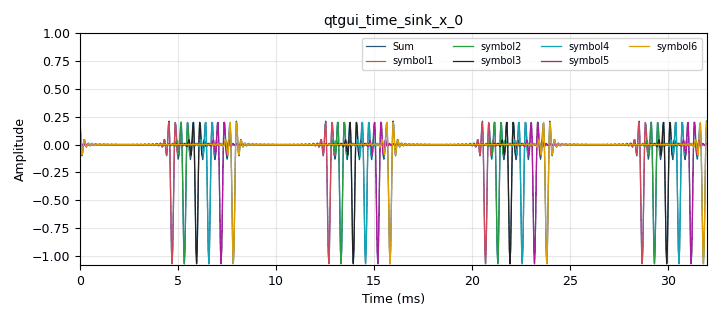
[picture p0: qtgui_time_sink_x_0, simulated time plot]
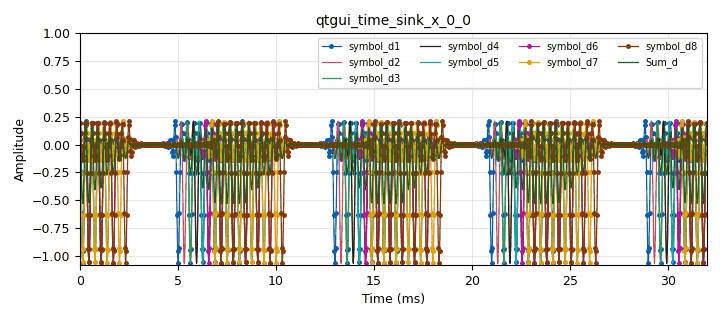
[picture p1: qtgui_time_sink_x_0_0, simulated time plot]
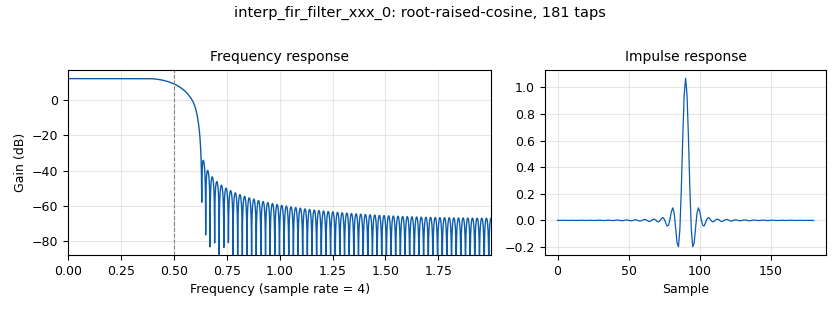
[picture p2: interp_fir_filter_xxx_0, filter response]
<?xml version='1.0' encoding='utf-8'?>
<?grc format='1' created='3.7.14'?>
<flow_graph>
<block>
<key>options</key>
<param><key>id</key><value>top_block</value></param>
<param><key>generate_options</key><value>qt_gui</value></param>
</block>
<block>
<key>variable_qtgui_range</key>
<param><key>id</key><value>delay_spread</value></param>
<param><key>value</key><value>10</value></param>
<param><key>orient</key><value>Qt.Horizontal</value></param>
<param><key>start</key><value>0</value></param>
<param><key>step</key><value>1</value></param>
<param><key>stop</key><value>50</value></param>
<param><key>rangeType</key><value>int</value></param>
</block>
<block>
<key>variable</key>
<param><key>id</key><value>samp_rate</value></param>
<param><key>value</key><value>32000</value></param>
</block>
<block>
<key>variable_qtgui_range</key>
<param><key>id</key><value>symbol_guard</value></param>
<param><key>value</key><value>20</value></param>
<param><key>orient</key><value>Qt.Horizontal</value></param>
<param><key>start</key><value>0</value></param>
<param><key>step</key><value>1</value></param>
<param><key>stop</key><value>200</value></param>
<param><key>rangeType</key><value>int</value></param>
</block>
<block>
<key>blocks_add_xx</key>
<param><key>id</key><value>blocks_add_xx_0</value></param>
<param><key>type</key><value>float</value></param>
<param><key>num_inputs</key><value>6</value></param>
</block>
<block>
<key>blocks_add_xx</key>
<param><key>id</key><value>blocks_add_xx_0_0</value></param>
<param><key>type</key><value>float</value></param>
<param><key>num_inputs</key><value>8</value></param>
</block>
<block>
<key>blocks_delay</key>
<param><key>id</key><value>blocks_delay_0</value></param>
<param><key>delay</key><value>2*symbol_guard</value></param>
<param><key>type</key><value>float</value></param>
</block>
<block>
<key>blocks_delay</key>
<param><key>id</key><value>blocks_delay_0_0</value></param>
<param><key>delay</key><value>1*symbol_guard</value></param>
<param><key>type</key><value>float</value></param>
</block>
<block>
<key>blocks_delay</key>
<param><key>id</key><value>blocks_delay_0_0_0</value></param>
<param><key>delay</key><value>5*symbol_guard</value></param>
<param><key>type</key><value>float</value></param>
</block>
<block>
<key>blocks_delay</key>
<param><key>id</key><value>blocks_delay_0_0_0_2</value></param>
<param><key>delay</key><value>1*delay_spread</value></param>
<param><key>type</key><value>float</value></param>
</block>
<block>
<key>blocks_delay</key>
<param><key>id</key><value>blocks_delay_0_0_0_2_0</value></param>
<param><key>delay</key><value>3*delay_spread</value></param>
<param><key>type</key><value>float</value></param>
</block>
<block>
<key>blocks_delay</key>
<param><key>id</key><value>blocks_delay_0_0_0_2_0_0</value></param>
<param><key>delay</key><value>6*delay_spread</value></param>
<param><key>type</key><value>float</value></param>
</block>
<block>
<key>blocks_delay</key>
<param><key>id</key><value>blocks_delay_0_0_0_2_0_1</value></param>
<param><key>delay</key><value>5*delay_spread</value></param>
<param><key>type</key><value>float</value></param>
</block>
<block>
<key>blocks_delay</key>
<param><key>id</key><value>blocks_delay_0_0_0_2_0_2</value></param>
<param><key>delay</key><value>7*delay_spread</value></param>
<param><key>type</key><value>float</value></param>
</block>
<block>
<key>blocks_delay</key>
<param><key>id</key><value>blocks_delay_0_0_0_2_0_3</value></param>
<param><key>delay</key><value>4*delay_spread</value></param>
<param><key>type</key><value>float</value></param>
</block>
<block>
<key>blocks_delay</key>
<param><key>id</key><value>blocks_delay_0_0_0_2_0_4</value></param>
<param><key>delay</key><value>8*delay_spread</value></param>
<param><key>type</key><value>float</value></param>
</block>
<block>
<key>blocks_delay</key>
<param><key>id</key><value>blocks_delay_0_0_0_2_1</value></param>
<param><key>delay</key><value>2*delay_spread</value></param>
<param><key>type</key><value>float</value></param>
</block>
<block>
<key>blocks_delay</key>
<param><key>id</key><value>blocks_delay_0_1</value></param>
<param><key>delay</key><value>4*symbol_guard</value></param>
<param><key>type</key><value>float</value></param>
</block>
<block>
<key>blocks_delay</key>
<param><key>id</key><value>blocks_delay_0_2</value></param>
<param><key>delay</key><value>3*symbol_guard</value></param>
<param><key>type</key><value>float</value></param>
</block>
<block>
<key>blocks_multiply_const_vxx</key>
<param><key>id</key><value>blocks_multiply_const_vxx_0</value></param>
<param><key>const</key><value>-1</value></param>
<param><key>type</key><value>float</value></param>
</block>
<block>
<key>blocks_multiply_const_vxx</key>
<param><key>id</key><value>blocks_multiply_const_vxx_0_0</value></param>
<param><key>const</key><value>-1</value></param>
<param><key>type</key><value>float</value></param>
</block>
<block>
<key>blocks_multiply_const_vxx</key>
<param><key>id</key><value>blocks_multiply_const_vxx_0_2_1</value></param>
<param><key>const</key><value>-1</value></param>
<param><key>type</key><value>float</value></param>
</block>
<block>
<key>blocks_multiply_const_vxx</key>
<param><key>id</key><value>blocks_multiply_const_vxx_0_2_1_0</value></param>
<param><key>const</key><value>-1</value></param>
<param><key>type</key><value>float</value></param>
</block>
<block>
<key>blocks_multiply_const_vxx</key>
<param><key>id</key><value>blocks_multiply_const_vxx_0_3</value></param>
<param><key>const</key><value>-1</value></param>
<param><key>type</key><value>float</value></param>
</block>
<block>
<key>blocks_multiply_const_vxx</key>
<param><key>id</key><value>blocks_multiply_const_vxx_0_3_0</value></param>
<param><key>const</key><value>-1</value></param>
<param><key>type</key><value>float</value></param>
</block>
<block>
<key>blocks_multiply_const_vxx</key>
<param><key>id</key><value>blocks_multiply_const_vxx_1</value></param>
<param><key>const</key><value>0.111</value></param>
<param><key>type</key><value>float</value></param>
</block>
<block>
<key>blocks_vector_source_x</key>
<param><key>id</key><value>blocks_vector_source_x_0</value></param>
<param><key>type</key><value>float</value></param>
<param><key>repeat</key><value>True</value></param>
<param><key>vector</key><value>31*[0,]+[1,]+32*[0,]</value></param>
</block>
<block>
<key>interp_fir_filter_xxx</key>
<param><key>id</key><value>interp_fir_filter_xxx_0</value></param>
<param><key>interp</key><value>4</value></param>
<param><key>taps</key><value>firdes.root_raised_cosine(4,4,1,0.25,4*45)</value></param>
<param><key>type</key><value>fff</value></param>
</block>
<block>
<key>qtgui_time_sink_x</key>
<param><key>id</key><value>qtgui_time_sink_x_0</value></param>
<param><key>color1</key><value>"blue"</value></param>
<param><key>label1</key><value>Sum</value></param>
<param><key>color2</key><value>"red"</value></param>
<param><key>label2</key><value>symbol1</value></param>
<param><key>color3</key><value>"magenta"</value></param>
<param><key>label3</key><value>symbol2</value></param>
<param><key>color4</key><value>"black"</value></param>
<param><key>label4</key><value>symbol3</value></param>
<param><key>color5</key><value>"cyan"</value></param>
<param><key>label5</key><value>symbol4</value></param>
<param><key>color6</key><value>"magenta"</value></param>
<param><key>label6</key><value>symbol5</value></param>
<param><key>color7</key><value>"yellow"</value></param>
<param><key>label7</key><value>symbol6</value></param>
<param><key>nconnections</key><value>7</value></param>
<param><key>size</key><value>1024</value></param>
<param><key>srate</key><value>samp_rate</value></param>
<param><key>type</key><value>float</value></param>
</block>
<block>
<key>qtgui_time_sink_x</key>
<param><key>id</key><value>qtgui_time_sink_x_0_0</value></param>
<param><key>color1</key><value>"blue"</value></param>
<param><key>label1</key><value>symbol_d1</value></param>
<param><key>marker1</key><value>0</value></param>
<param><key>color2</key><value>"red"</value></param>
<param><key>label2</key><value>symbol_d2</value></param>
<param><key>style2</key><value>2</value></param>
<param><key>color3</key><value>"green"</value></param>
<param><key>label3</key><value>symbol_d3</value></param>
<param><key>color4</key><value>"dark red"</value></param>
<param><key>label4</key><value>symbol_d4</value></param>
<param><key>style4</key><value>4</value></param>
<param><key>color5</key><value>"cyan"</value></param>
<param><key>label5</key><value>symbol_d5</value></param>
<param><key>color6</key><value>"magenta"</value></param>
<param><key>label6</key><value>symbol_d6</value></param>
<param><key>marker6</key><value>0</value></param>
<param><key>color7</key><value>"Dark Blue"</value></param>
<param><key>label7</key><value>symbol_d7</value></param>
<param><key>marker7</key><value>0</value></param>
<param><key>color8</key><value>"dark red"</value></param>
<param><key>label8</key><value>symbol_d8</value></param>
<param><key>marker8</key><value>3</value></param>
<param><key>style8</key><value>2</value></param>
<param><key>color9</key><value>"dark green"</value></param>
<param><key>label9</key><value>Sum_d</value></param>
<param><key>nconnections</key><value>9</value></param>
<param><key>size</key><value>1024</value></param>
<param><key>srate</key><value>samp_rate</value></param>
<param><key>type</key><value>float</value></param>
</block>
<block>
<key>virtual_sink</key>
<param><key>id</key><value>virtual_sink_0</value></param>
<param><key>stream_id</key><value>Symbol Source </value></param>
</block>
<block>
<key>virtual_source</key>
<param><key>id</key><value>virtual_source_0</value></param>
<param><key>stream_id</key><value>Symbol Source </value></param>
</block>
<connection><source_block_id>blocks_add_xx_0</source_block_id><sink_block_id>qtgui_time_sink_x_0</sink_block_id><source_key>0</source_key><sink_key>0</sink_key></connection>
<connection><source_block_id>blocks_add_xx_0</source_block_id><sink_block_id>virtual_sink_0</sink_block_id><source_key>0</source_key><sink_key>0</sink_key></connection>
<connection><source_block_id>blocks_add_xx_0_0</source_block_id><sink_block_id>blocks_multiply_const_vxx_1</sink_block_id><source_key>0</source_key><sink_key>0</sink_key></connection>
<connection><source_block_id>blocks_delay_0</source_block_id><sink_block_id>blocks_add_xx_0</sink_block_id><source_key>0</source_key><sink_key>2</sink_key></connection>
<connection><source_block_id>blocks_delay_0</source_block_id><sink_block_id>qtgui_time_sink_x_0</sink_block_id><source_key>0</source_key><sink_key>3</sink_key></connection>
<connection><source_block_id>blocks_delay_0_0</source_block_id><sink_block_id>blocks_add_xx_0</sink_block_id><source_key>0</source_key><sink_key>1</sink_key></connection>
<connection><source_block_id>blocks_delay_0_0</source_block_id><sink_block_id>qtgui_time_sink_x_0</sink_block_id><source_key>0</source_key><sink_key>2</sink_key></connection>
<connection><source_block_id>blocks_delay_0_0_0</source_block_id><sink_block_id>blocks_add_xx_0</sink_block_id><source_key>0</source_key><sink_key>5</sink_key></connection>
<connection><source_block_id>blocks_delay_0_0_0</source_block_id><sink_block_id>qtgui_time_sink_x_0</sink_block_id><source_key>0</source_key><sink_key>6</sink_key></connection>
<connection><source_block_id>blocks_delay_0_0_0_2</source_block_id><sink_block_id>blocks_add_xx_0_0</sink_block_id><source_key>0</source_key><sink_key>3</sink_key></connection>
<connection><source_block_id>blocks_delay_0_0_0_2</source_block_id><sink_block_id>qtgui_time_sink_x_0_0</sink_block_id><source_key>0</source_key><sink_key>0</sink_key></connection>
<connection><source_block_id>blocks_delay_0_0_0_2_0</source_block_id><sink_block_id>blocks_add_xx_0_0</sink_block_id><source_key>0</source_key><sink_key>1</sink_key></connection>
<connection><source_block_id>blocks_delay_0_0_0_2_0</source_block_id><sink_block_id>qtgui_time_sink_x_0_0</sink_block_id><source_key>0</source_key><sink_key>2</sink_key></connection>
<connection><source_block_id>blocks_delay_0_0_0_2_0_0</source_block_id><sink_block_id>blocks_add_xx_0_0</sink_block_id><source_key>0</source_key><sink_key>5</sink_key></connection>
<connection><source_block_id>blocks_delay_0_0_0_2_0_0</source_block_id><sink_block_id>qtgui_time_sink_x_0_0</sink_block_id><source_key>0</source_key><sink_key>5</sink_key></connection>
<connection><source_block_id>blocks_delay_0_0_0_2_0_1</source_block_id><sink_block_id>blocks_add_xx_0_0</sink_block_id><source_key>0</source_key><sink_key>4</sink_key></connection>
<connection><source_block_id>blocks_delay_0_0_0_2_0_1</source_block_id><sink_block_id>qtgui_time_sink_x_0_0</sink_block_id><source_key>0</source_key><sink_key>4</sink_key></connection>
<connection><source_block_id>blocks_delay_0_0_0_2_0_2</source_block_id><sink_block_id>blocks_add_xx_0_0</sink_block_id><source_key>0</source_key><sink_key>6</sink_key></connection>
<connection><source_block_id>blocks_delay_0_0_0_2_0_2</source_block_id><sink_block_id>qtgui_time_sink_x_0_0</sink_block_id><source_key>0</source_key><sink_key>6</sink_key></connection>
<connection><source_block_id>blocks_delay_0_0_0_2_0_3</source_block_id><sink_block_id>blocks_add_xx_0_0</sink_block_id><source_key>0</source_key><sink_key>0</sink_key></connection>
<connection><source_block_id>blocks_delay_0_0_0_2_0_3</source_block_id><sink_block_id>qtgui_time_sink_x_0_0</sink_block_id><source_key>0</source_key><sink_key>3</sink_key></connection>
<connection><source_block_id>blocks_delay_0_0_0_2_0_4</source_block_id><sink_block_id>blocks_add_xx_0_0</sink_block_id><source_key>0</source_key><sink_key>7</sink_key></connection>
<connection><source_block_id>blocks_delay_0_0_0_2_0_4</source_block_id><sink_block_id>qtgui_time_sink_x_0_0</sink_block_id><source_key>0</source_key><sink_key>7</sink_key></connection>
<connection><source_block_id>blocks_delay_0_0_0_2_1</source_block_id><sink_block_id>blocks_add_xx_0_0</sink_block_id><source_key>0</source_key><sink_key>2</sink_key></connection>
<connection><source_block_id>blocks_delay_0_0_0_2_1</source_block_id><sink_block_id>qtgui_time_sink_x_0_0</sink_block_id><source_key>0</source_key><sink_key>1</sink_key></connection>
<connection><source_block_id>blocks_delay_0_1</source_block_id><sink_block_id>blocks_add_xx_0</sink_block_id><source_key>0</source_key><sink_key>4</sink_key></connection>
<connection><source_block_id>blocks_delay_0_1</source_block_id><sink_block_id>qtgui_time_sink_x_0</sink_block_id><source_key>0</source_key><sink_key>5</sink_key></connection>
<connection><source_block_id>blocks_delay_0_2</source_block_id><sink_block_id>blocks_add_xx_0</sink_block_id><source_key>0</source_key><sink_key>3</sink_key></connection>
<connection><source_block_id>blocks_delay_0_2</source_block_id><sink_block_id>qtgui_time_sink_x_0</sink_block_id><source_key>0</source_key><sink_key>4</sink_key></connection>
<connection><source_block_id>blocks_multiply_const_vxx_0</source_block_id><sink_block_id>blocks_delay_0_0</sink_block_id><source_key>0</source_key><sink_key>0</sink_key></connection>
<connection><source_block_id>blocks_multiply_const_vxx_0_0</source_block_id><sink_block_id>blocks_add_xx_0</sink_block_id><source_key>0</source_key><sink_key>0</sink_key></connection>
<connection><source_block_id>blocks_multiply_const_vxx_0_0</source_block_id><sink_block_id>qtgui_time_sink_x_0</sink_block_id><source_key>0</source_key><sink_key>1</sink_key></connection>
<connection><source_block_id>blocks_multiply_const_vxx_0_2_1</source_block_id><sink_block_id>blocks_delay_0_2</sink_block_id><source_key>0</source_key><sink_key>0</sink_key></connection>
<connection><source_block_id>blocks_multiply_const_vxx_0_2_1_0</source_block_id><sink_block_id>blocks_delay_0_1</sink_block_id><source_key>0</source_key><sink_key>0</sink_key></connection>
<connection><source_block_id>blocks_multiply_const_vxx_0_3</source_block_id><sink_block_id>blocks_delay_0_0_0</sink_block_id><source_key>0</source_key><sink_key>0</sink_key></connection>
<connection><source_block_id>blocks_multiply_const_vxx_0_3_0</source_block_id><sink_block_id>blocks_delay_0</sink_block_id><source_key>0</source_key><sink_key>0</sink_key></connection>
<connection><source_block_id>blocks_multiply_const_vxx_1</source_block_id><sink_block_id>qtgui_time_sink_x_0_0</sink_block_id><source_key>0</source_key><sink_key>8</sink_key></connection>
<connection><source_block_id>blocks_vector_source_x_0</source_block_id><sink_block_id>interp_fir_filter_xxx_0</sink_block_id><source_key>0</source_key><sink_key>0</sink_key></connection>
<connection><source_block_id>interp_fir_filter_xxx_0</source_block_id><sink_block_id>blocks_multiply_const_vxx_0</sink_block_id><source_key>0</source_key><sink_key>0</sink_key></connection>
<connection><source_block_id>interp_fir_filter_xxx_0</source_block_id><sink_block_id>blocks_multiply_const_vxx_0_0</sink_block_id><source_key>0</source_key><sink_key>0</sink_key></connection>
<connection><source_block_id>interp_fir_filter_xxx_0</source_block_id><sink_block_id>blocks_multiply_const_vxx_0_2_1</sink_block_id><source_key>0</source_key><sink_key>0</sink_key></connection>
<connection><source_block_id>interp_fir_filter_xxx_0</source_block_id><sink_block_id>blocks_multiply_const_vxx_0_2_1_0</sink_block_id><source_key>0</source_key><sink_key>0</sink_key></connection>
<connection><source_block_id>interp_fir_filter_xxx_0</source_block_id><sink_block_id>blocks_multiply_const_vxx_0_3</sink_block_id><source_key>0</source_key><sink_key>0</sink_key></connection>
<connection><source_block_id>interp_fir_filter_xxx_0</source_block_id><sink_block_id>blocks_multiply_const_vxx_0_3_0</sink_block_id><source_key>0</source_key><sink_key>0</sink_key></connection>
<connection><source_block_id>virtual_source_0</source_block_id><sink_block_id>blocks_delay_0_0_0_2</sink_block_id><source_key>0</source_key><sink_key>0</sink_key></connection>
<connection><source_block_id>virtual_source_0</source_block_id><sink_block_id>blocks_delay_0_0_0_2_0</sink_block_id><source_key>0</source_key><sink_key>0</sink_key></connection>
<connection><source_block_id>virtual_source_0</source_block_id><sink_block_id>blocks_delay_0_0_0_2_0_0</sink_block_id><source_key>0</source_key><sink_key>0</sink_key></connection>
<connection><source_block_id>virtual_source_0</source_block_id><sink_block_id>blocks_delay_0_0_0_2_0_1</sink_block_id><source_key>0</source_key><sink_key>0</sink_key></connection>
<connection><source_block_id>virtual_source_0</source_block_id><sink_block_id>blocks_delay_0_0_0_2_0_2</sink_block_id><source_key>0</source_key><sink_key>0</sink_key></connection>
<connection><source_block_id>virtual_source_0</source_block_id><sink_block_id>blocks_delay_0_0_0_2_0_3</sink_block_id><source_key>0</source_key><sink_key>0</sink_key></connection>
<connection><source_block_id>virtual_source_0</source_block_id><sink_block_id>blocks_delay_0_0_0_2_0_4</sink_block_id><source_key>0</source_key><sink_key>0</sink_key></connection>
<connection><source_block_id>virtual_source_0</source_block_id><sink_block_id>blocks_delay_0_0_0_2_1</sink_block_id><source_key>0</source_key><sink_key>0</sink_key></connection>
</flow_graph>
